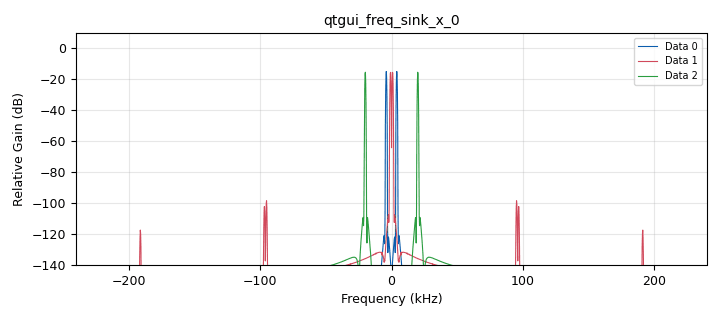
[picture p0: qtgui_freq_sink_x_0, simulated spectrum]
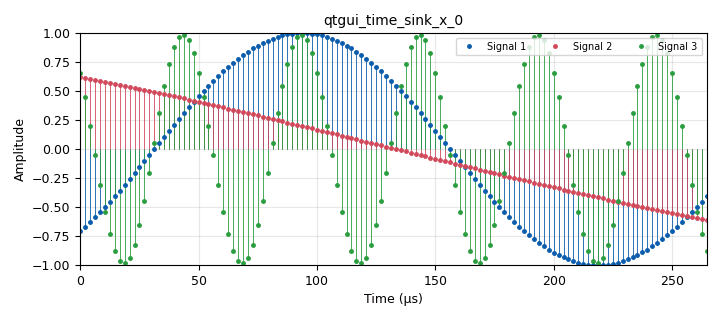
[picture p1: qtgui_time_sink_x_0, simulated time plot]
options:
  parameters:
    author: Daniela_Cabrales_Brayan_Fonseca_L1C_G2
    generate_options: qt_gui
    id: lab1_parteB_punto4
    output_language: python
    title: lab1_parteB_punto4
  states: {}

blocks:
- name: freq
  id: variable_qtgui_range
  parameters:
    label: frequency
    start: '1000'
    step: '1000'
    stop: '40000'
    value: '4000'
  states: {}
- name: samp_rate
  id: variable
  parameters:
    value: '480000'
  states: {}
- name: analog_sig_source_x_0
  id: analog_sig_source_x
  parameters:
    amp: '1'
    freq: freq
    offset: '0'
    phase: '0'
    samp_rate: samp_rate
    type: float
    waveform: analog.GR_COS_WAVE
  states: {}
- name: analog_sig_source_x_1
  id: analog_sig_source_x
  parameters:
    amp: '1'
    freq: freq
    offset: '0'
    phase: '0'
    samp_rate: samp_rate
    type: float
    waveform: analog.GR_COS_WAVE
  states: {}
- name: analog_sig_source_x_2
  id: analog_sig_source_x
  parameters:
    amp: '1'
    freq: freq
    offset: '0'
    phase: '0'
    samp_rate: samp_rate
    type: float
    waveform: analog.GR_COS_WAVE
  states: {}
- name: blocks_throttle_0
  id: blocks_throttle
  parameters:
    samples_per_second: samp_rate
    type: float
  states: {}
- name: qtgui_freq_sink_x_0
  id: qtgui_freq_sink_x
  parameters:
    bw: samp_rate
    fc: '0'
    fftsize: '2048'
    nconnections: '3'
    type: float
  states: {}
- name: qtgui_time_sink_x_0
  id: qtgui_time_sink_x
  parameters:
    nconnections: '3'
    size: '128'
    srate: samp_rate
    stemplot: 'True'
    type: float
  states: {}
- name: rational_resampler_xxx_0
  id: rational_resampler_xxx
  parameters:
    decim: '1'
    fbw: '0.01'
    interp: '1'
    taps: ''
    type: fff
  states: {}
- name: rational_resampler_xxx_1
  id: rational_resampler_xxx
  parameters:
    decim: '1'
    fbw: '0.01'
    interp: '5'
    taps: ''
    type: fff
  states: {}
- name: rational_resampler_xxx_2
  id: rational_resampler_xxx
  parameters:
    decim: '5'
    fbw: '0.01'
    interp: '1'
    taps: ''
    type: fff
  states: {}

connections:
- [analog_sig_source_x_0, '0', rational_resampler_xxx_1, '0']
- [analog_sig_source_x_1, '0', rational_resampler_xxx_2, '0']
- [analog_sig_source_x_2, '0', rational_resampler_xxx_0, '0']
- [blocks_throttle_0, '0', qtgui_freq_sink_x_0, '0']
- [blocks_throttle_0, '0', qtgui_time_sink_x_0, '0']
- [rational_resampler_xxx_0, '0', blocks_throttle_0, '0']
- [rational_resampler_xxx_1, '0', qtgui_freq_sink_x_0, '1']
- [rational_resampler_xxx_1, '0', qtgui_time_sink_x_0, '1']
- [rational_resampler_xxx_2, '0', qtgui_freq_sink_x_0, '2']
- [rational_resampler_xxx_2, '0', qtgui_time_sink_x_0, '2']

metadata:
  file_format: 1
  grc_version: 3.10.5.1
